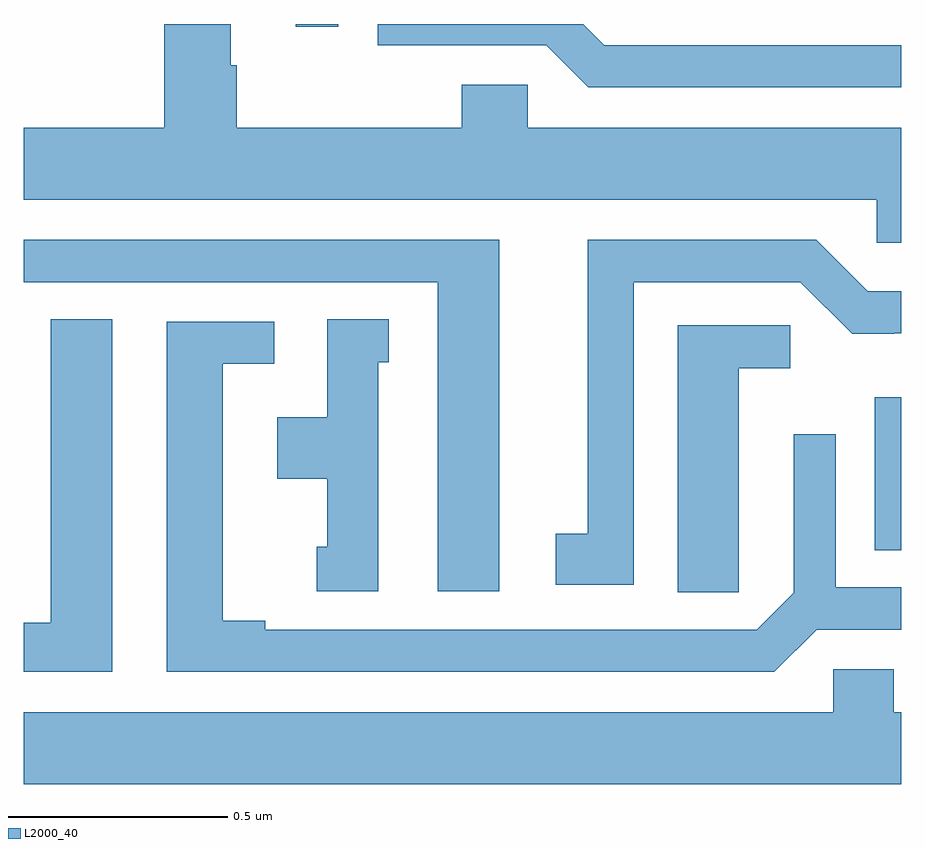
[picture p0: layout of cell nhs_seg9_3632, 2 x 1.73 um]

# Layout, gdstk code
import gdstk
lib = gdstk.Library(unit=1e-6, precision=1e-09)
def R(c, l, rs):  # rectangles x0, y0, x1, y1
    for r in rs: c.add(gdstk.rectangle(r[:2], r[2:], *l))
def P(c, l, *ps):  # polygons
    for p in ps: c.add(gdstk.Polygon(p, *l))
L2000_40 = (2000, 40)

nhs_seg9_3632 = lib.new_cell('nhs_seg9_3632')
R(nhs_seg9_3632, L2000_40, [(157.94,1182.301,158,1182.649), (156.62,1183.494,156.717,1183.5)])
P(nhs_seg9_3632, L2000_40, [(158,1183.264),(157.149,1183.264),(157.149,1183.362),(156.998,1183.362),(156.998,1183.264),(156.485,1183.264),(156.485,1183.406),(156.472,1183.406),(156.472,1183.5),(156.32,1183.5),(156.32,1183.264),(156,1183.264),(156,1183.1),(157.944,1183.1),(157.944,1183.002),(158,1183.002)],
  [(158,1183.452),(157.323,1183.452),(157.275,1183.5),(156.807,1183.5),(156.807,1183.452),(157.191,1183.452),(157.287,1183.356),(158,1183.356)],
  [(157.39,1182.912),(157.77,1182.912),(157.888,1182.794),(157.984,1182.794),(157.984,1182.795),(158,1182.795),(158,1182.891),(157.923,1182.891),(157.806,1183.008),(157.286,1183.008),(157.286,1182.338),(157.212,1182.338),(157.212,1182.222),(157.39,1182.222)],
  [(157.084,1183.008),(156,1183.008),(156,1182.912),(156.944,1182.912),(156.944,1182.207),(157.084,1182.207)],
  [(156.808,1182.729),(156.832,1182.729),(156.832,1182.827),(156.692,1182.827),(156.692,1182.604),(156.578,1182.604),(156.578,1182.464),(156.692,1182.464),(156.692,1182.309),(156.668,1182.309),(156.668,1182.207),(156.808,1182.207)],
  [(156.202,1182.827),(156.062,1182.827),(156.062,1182.135),(156,1182.135),(156,1182.024),(156.202,1182.024)],
  [(157.807,1182.12),(158,1182.12),(158,1182.216),(157.851,1182.216),(157.851,1182.565),(157.755,1182.565),(157.755,1182.204),(157.671,1182.12),(156.55,1182.12),(156.55,1182.14),(156.454,1182.14),(156.454,1182.726),(156.571,1182.726),(156.571,1182.822),(156.326,1182.822),(156.326,1182.024),(157.711,1182.024)],
  [(157.629,1182.313),(157.63,1182.313),(157.63,1182.716),(157.747,1182.716),(157.747,1182.813),(157.49,1182.813),(157.49,1182.205),(157.629,1182.205)],
  [(158,1181.932),(157.983,1181.932),(157.983,1182.03),(157.845,1182.03),(157.845,1181.932),(156,1181.932),(156,1181.768),(158,1181.768)])

lib.write_gds('nhs_seg9_3632.gds')
